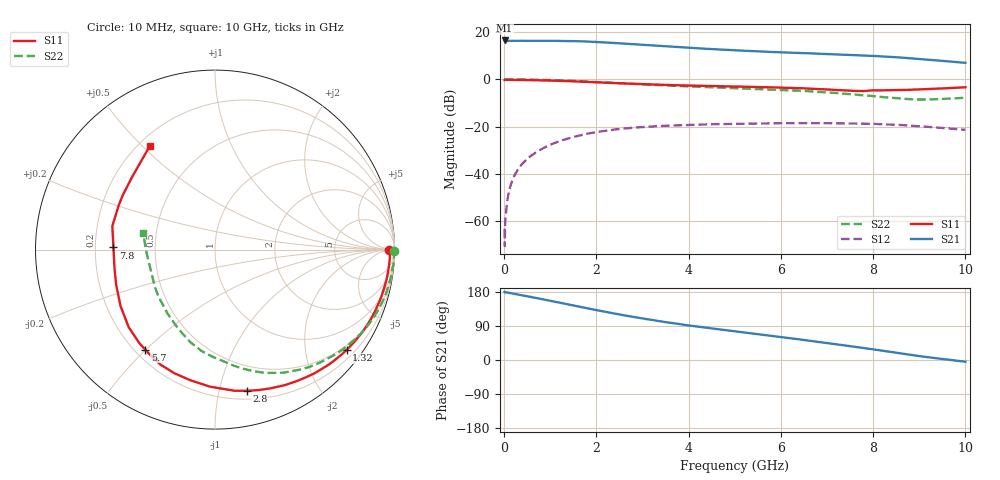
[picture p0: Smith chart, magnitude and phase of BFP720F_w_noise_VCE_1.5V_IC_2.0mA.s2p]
! Infineon Technologies  Discrete & RF Semiconductors
! BFP720F
! VCE =  1.5 V,  IC =  2.0 mA
! Common Emitter S-Parameters:  Jan 2016
# GHz  S  MA  R  50
!  f  S11  S21  S12  S22
! GHz  MAG  ANG  MAG  ANG  MAG  ANG  MAG  ANG
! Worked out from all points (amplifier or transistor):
!   233 points, 10 MHz to 10 GHz, reference 50 ohm
!   highest |S21| = 16.4 dB at 10 MHz (marker M1)
!   |S21| within 3 dB of that: start of sweep to 3.937 GHz
!   unconditionally stable (mu >= 1): nowhere
!   at 200 MHz: K = 0.02, MSG = 28.9 dB, |S12| = -41.6 dB
!   at 1.74 GHz: K = 0.14, MSG = 19.6 dB, |S12| = -23.2 dB
!   at 10 GHz: K = 0.99, MSG = 14.2 dB, |S12| = -21.3 dB
!   lowest NFmin = 0.43 dB at 450 MHz
!   S11 on the Smith chart (normalised r, x): 10 MHz: 70, -4; 1.32 GHz: 0.39, -2.92; 2.8 GHz: 0.27, -1.21; 5.7 GHz: 0.24, -0.50; 7.8 GHz: 0.28, +0.01; 10 GHz: 0.24, +0.52
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0.01  0.9719 -0.1  6.628 179.7  0.0007 -33.0  0.997 -0.3
0.015  0.9744 -0.3  6.512 178.9  0.0003 39.2  0.9985 -0.7
0.02  0.9769 -0.5  6.398 178.1  0.0008 95.6  1 -1.1
0.03  0.9761 -0.8  6.422 178.3  0.0012 89.5  0.9993 -1.1
0.09  0.9754 -2.5  6.482 177.7  0.0037 88.3  0.9984 -1.9
0.18  0.9736 -4.9  6.495 175.6  0.0075 86.6  0.9973 -3.7
0.28  0.9719 -7.7  6.504 173.2  0.0117 84.8  0.9949 -5.8
0.8  0.9539 -22.3  6.539 161.1  0.0333 74.0  0.9786 -16.9
1.32  0.9218 -37.3  6.44 148.4  0.054 62.6  0.9437 -28.2
1.68  0.8928 -48.0  6.354 139.4  0.067 54.7  0.9109 -36.1
2.2  0.8504 -62.5  6.021 127.0  0.0825 43.5  0.8595 -47.1
2.8  0.8059 -77.4  5.529 113.7  0.0951 31.9  0.8002 -57.8
3.4  0.7685 -89.9  5.064 101.9  0.1034 22.0  0.7514 -66.1
4  0.7407 -100.7  4.654 91.2  0.1093 13.5  0.7092 -72.7
5.1  0.7037 -116.8  4.068 74.1  0.1155 0.0  0.6441 -82.5
5.7  0.6794 -124.9  3.823 65.1  0.1176 -6.8  0.6115 -88.1
6.8  0.6235 -144.6  3.487 48.0  0.1189 -19.3  0.547 -101.9
7.4  0.5845 -160.4  3.298 38.2  0.1174 -26.5  0.4958 -112.5
7.8  0.566 178.8  3.175 31.6  0.1157 -31.3  0.4589 -121.5
8.4  0.5904 155.3  2.973 20.9  0.111 -39.0  0.4094 -140.3
9  0.613 139.2  2.699 10.2  0.1025 -46.5  0.3752 -164.8
10  0.6806 122.4  2.231 -4.6  0.0858 -55.0  0.4109 166.6
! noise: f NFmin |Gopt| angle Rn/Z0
0.45  0.43  0.69  4  0.26
0.9  0.5  0.69  12  0.28
1.8  0.54  0.67  25  0.22
2.4  0.57  0.66  31  0.22
5.5  0.87  0.48  86  0.15
10  1.3  0.32  -135  0.15
